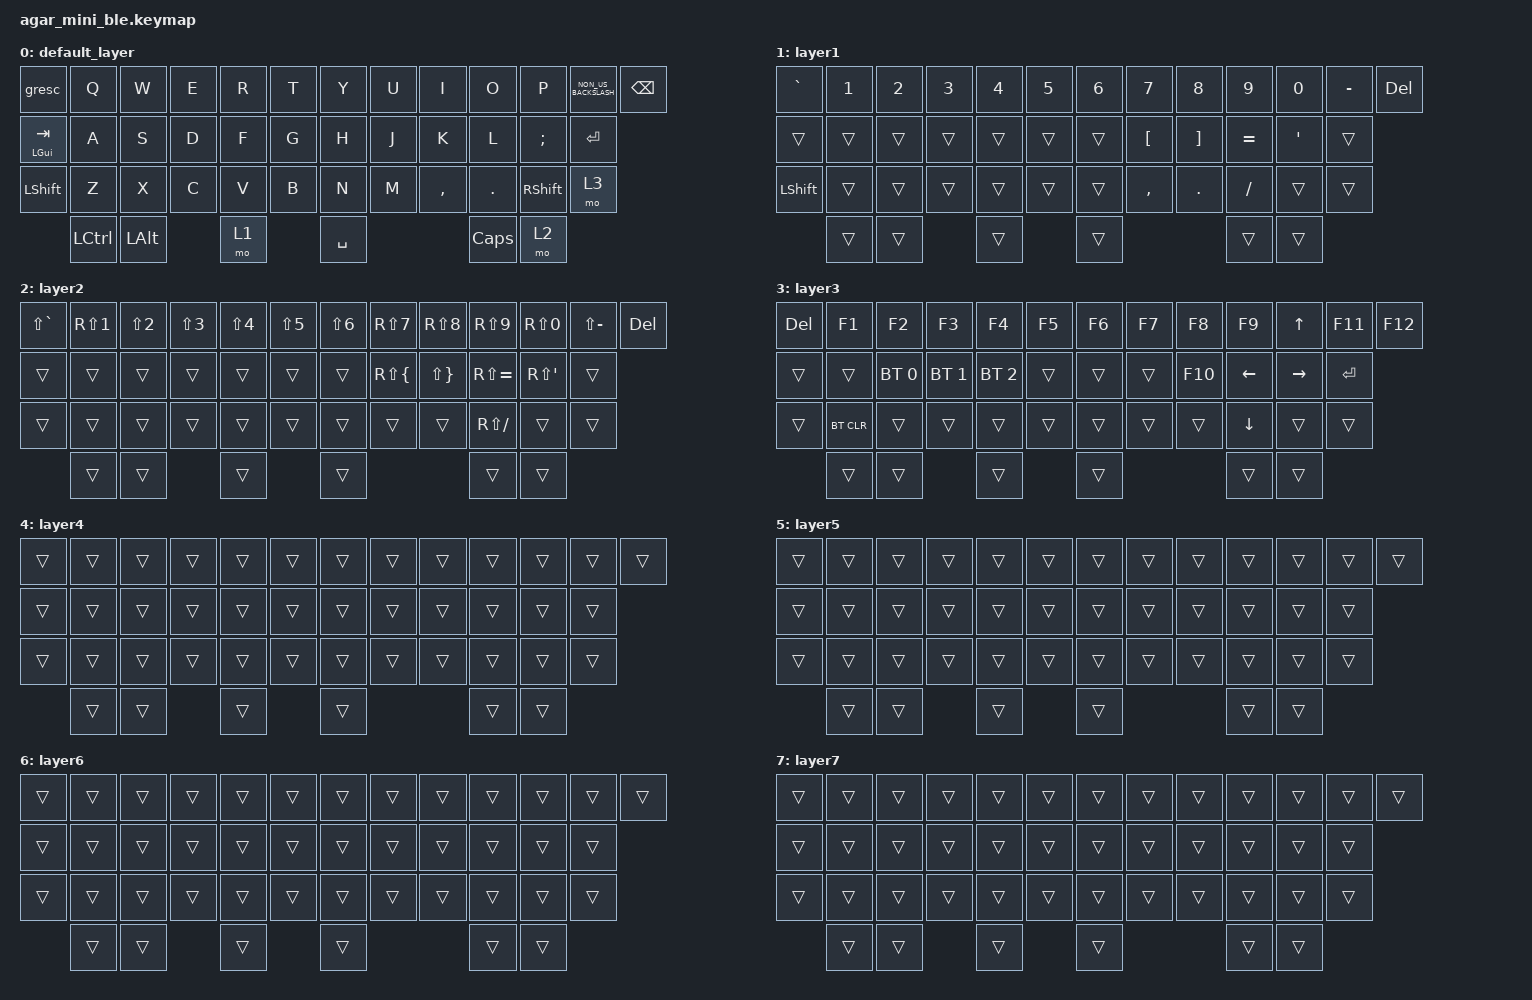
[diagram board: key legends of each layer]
/*
 * Copyright (c) 2021 The ZMK Contributors
 *
 * SPDX-License-Identifier: MIT
 */

#include "./boards/shields/klink_kbd/common.keymap"
#include <behaviors.dtsi>
#include <dt-bindings/zmk/bt.h>
#include <dt-bindings/zmk/keys.h>

/ {
    combos {
        compatible = "zmk,combos";

        num1 {
            bindings = <&kp NUMBER_1>;
            key-positions = <0 1>;
        };

        num2 {
            bindings = <&kp NUMBER_2>;
            key-positions = <1 2>;
        };

        num3 {
            bindings = <&kp NUMBER_3>;
            key-positions = <2 3>;
        };

        num4 {
            bindings = <&kp NUMBER_4>;
            key-positions = <3 4>;
        };

        num5 {
            bindings = <&kp NUMBER_5>;
            key-positions = <4 5>;
        };

        num6 {
            bindings = <&kp NUMBER_6>;
            key-positions = <5 6>;
        };

        num7 {
            bindings = <&kp NUMBER_7>;
            key-positions = <6 7>;
        };

        num8 {
            bindings = <&kp NUMBER_8>;
            key-positions = <7 8>;
        };

        num9 {
            bindings = <&kp NUMBER_9>;
            key-positions = <8 9>;
        };

        num0 {
            bindings = <&kp NUMBER_0>;
            key-positions = <9 10>;
        };
    };

    keymap {
        compatible = "zmk,keymap";

        default_layer {
            bindings = <
&gresc            &kp Q      &kp W     &kp E  &kp R  &kp T  &kp Y      &kp U  &kp I      &kp O         &kp P       &kp NON_US_BACKSLASH  &kp BSPC
&mt LEFT_GUI TAB  &kp A      &kp S     &kp D  &kp F  &kp G  &kp H      &kp J  &kp K      &kp L         &kp SEMI    &kp RET
&kp LSHFT         &kp Z      &kp X     &kp C  &kp V  &kp B  &kp N      &kp M  &kp COMMA  &kp DOT       &kp RSHIFT  &mo 3
                  &kp LCTRL  &kp LALT         &mo 1         &kp SPACE                    &kp CAPSLOCK  &mo 2
            >;
        };

        layer1 {
            bindings = <
&kp GRAVE       &kp N1  &kp N2  &kp N3  &kp N4  &kp N5  &kp N6  &kp N7            &kp N8             &kp N9     &kp N0            &kp MINUS  &kp DELETE
&trans          &trans  &trans  &trans  &trans  &trans  &trans  &kp LEFT_BRACKET  &kp RIGHT_BRACKET  &kp EQUAL  &kp SINGLE_QUOTE  &trans
&kp LEFT_SHIFT  &trans  &trans  &trans  &trans  &trans  &trans  &kp COMMA         &kp PERIOD         &kp SLASH  &trans            &trans
                &trans  &trans          &trans          &trans                                       &trans     &trans
            >;
        };

        layer2 {
            bindings = <
&kp LS(GRAVE)  &kp RS(N1)  &kp LS(N2)  &kp LS(N3)  &kp LS(N4)  &kp LS(N5)  &kp LS(N6)  &kp RS(N7)          &kp RS(N8)           &kp RS(N9)     &kp RS(N0)   &kp LS(MINUS)  &kp DELETE
&trans         &trans      &trans      &trans      &trans      &trans      &trans      &kp RS(LEFT_BRACE)  &kp LS(RIGHT_BRACE)  &kp RS(EQUAL)  &kp RS(SQT)  &trans
&trans         &trans      &trans      &trans      &trans      &trans      &trans      &trans              &trans               &kp RS(SLASH)  &trans       &trans
               &trans      &trans                  &trans                  &trans                                               &trans         &trans
            >;
        };

        layer3 {
            bindings = <
&kp DELETE  &kp F1      &kp F2        &kp F3        &kp F4        &kp F5  &kp F6  &kp F7  &kp F8   &kp F9          &kp UP_ARROW     &kp F11    &kp F12
&trans      &trans      &bt BT_SEL 0  &bt BT_SEL 1  &bt BT_SEL 2  &trans  &trans  &trans  &kp F10  &kp LEFT_ARROW  &kp RIGHT_ARROW  &kp ENTER
&trans      &bt BT_CLR  &trans        &trans        &trans        &trans  &trans  &trans  &trans   &kp DOWN_ARROW  &trans           &trans
            &trans      &trans                      &trans                &trans                   &trans          &trans
            >;
        };

        layer4 {
            bindings = <
&trans  &trans  &trans  &trans  &trans  &trans  &trans  &trans  &trans  &trans  &trans  &trans  &trans
&trans  &trans  &trans  &trans  &trans  &trans  &trans  &trans  &trans  &trans  &trans  &trans
&trans  &trans  &trans  &trans  &trans  &trans  &trans  &trans  &trans  &trans  &trans  &trans
        &trans  &trans          &trans          &trans                  &trans  &trans
            >;
        };

        layer5 {
            bindings = <
&trans  &trans  &trans  &trans  &trans  &trans  &trans  &trans  &trans  &trans  &trans  &trans  &trans
&trans  &trans  &trans  &trans  &trans  &trans  &trans  &trans  &trans  &trans  &trans  &trans
&trans  &trans  &trans  &trans  &trans  &trans  &trans  &trans  &trans  &trans  &trans  &trans
        &trans  &trans          &trans          &trans                  &trans  &trans
            >;
        };

        layer6 {
            bindings = <
&trans  &trans  &trans  &trans  &trans  &trans  &trans  &trans  &trans  &trans  &trans  &trans  &trans
&trans  &trans  &trans  &trans  &trans  &trans  &trans  &trans  &trans  &trans  &trans  &trans
&trans  &trans  &trans  &trans  &trans  &trans  &trans  &trans  &trans  &trans  &trans  &trans
        &trans  &trans          &trans          &trans                  &trans  &trans
            >;
        };

        layer7 {
            bindings = <
&trans  &trans  &trans  &trans  &trans  &trans  &trans  &trans  &trans  &trans  &trans  &trans  &trans
&trans  &trans  &trans  &trans  &trans  &trans  &trans  &trans  &trans  &trans  &trans  &trans
&trans  &trans  &trans  &trans  &trans  &trans  &trans  &trans  &trans  &trans  &trans  &trans
        &trans  &trans          &trans          &trans                  &trans  &trans
            >;
        };
    };
};
